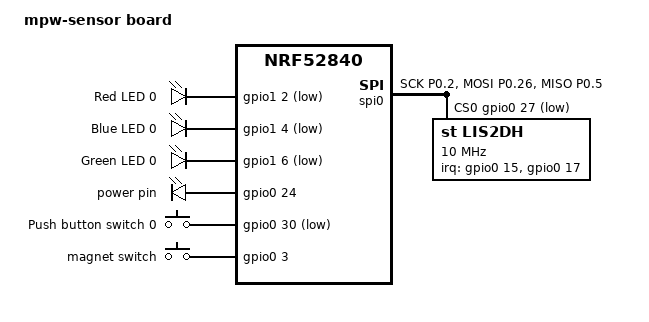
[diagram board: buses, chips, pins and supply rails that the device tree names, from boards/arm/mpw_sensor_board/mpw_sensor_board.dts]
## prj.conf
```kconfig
CONFIG_BT=y
CONFIG_BT_DEBUG_LOG=y
CONFIG_BT_DEVICE_NAME="A_1111"
CONFIG_BT_BROADCASTER=y

CONFIG_STDOUT_CONSOLE=y
CONFIG_PINCTRL=y
CONFIG_SPI=y
CONFIG_SENSOR=y
CONFIG_LIS2DH=y
CONFIG_CBPRINTF_FP_SUPPORT=y

CONFIG_NEWLIB_LIBC=y
CONFIG_NEWLIB_LIBC_FLOAT_PRINTF=y
CONFIG_CBPRINTF_FP_SUPPORT=y
```

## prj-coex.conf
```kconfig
CONFIG_BT_LL_SW_SPLIT=y
CONFIG_BT_CTLR_COEX_DRIVERS=y
CONFIG_BT_CTLR_COEX_TICKER=y
```

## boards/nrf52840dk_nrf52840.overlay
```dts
// To get started, press Ctrl+Space to bring up the completion menu and view the available nodes.

// You can also use the buttons in the sidebar to perform actions on nodes.
// Actions currently available include:

// * Enabling / disabling the node
// * Adding the bus to a bus
// * Removing the node
// * Connecting ADC channels

// For more help, browse the DeviceTree documentation at https://docs.zephyrproject.org/latest/guides/dts/index.html
// You can also visit the nRF DeviceTree extension documentation at https://nrfconnect.github.io/vscode-nrf-connect/devicetree/nrfdevicetree.html

&pinctrl {
	spi1_default: spi1_default {
		group1 {
			psels = <NRF_PSEL(SPIM_SCK, 0, 31)>,
				<NRF_PSEL(SPIM_MOSI, 0, 30)>,
				<NRF_PSEL(SPIM_MISO, 1, 8)>;
		};
	};
	spi1_sleep: spi1_sleep {
		group1 {
			psels = <NRF_PSEL(SPIM_SCK, 0, 31)>,
			<NRF_PSEL(SPIM_MOSI, 0, 30)>,
			<NRF_PSEL(SPIM_MISO, 1, 8)>;
		};
		
	};
};

// Adding our device to the devicetree
// lis2dh is a child node to the spi1 node
&spi1 {
	status = "okay";
	cs-gpios = <&gpio0 4 GPIO_ACTIVE_LOW>;
	pinctrl-0 = <&spi1_default>;
	pinctrl-1 = <&spi1_sleep>;
	pinctrl-names = "default", "sleep";
	my_spi_device: lis2dh@0 {
		compatible = "st,lis2dh";
		reg = <0>;
		spi-max-frequency = <10000000>;
		label = "lis2dh";
	};
};

// for power pin
/ {
	leds {
		/* pljfalkfjsa */
		led4: led_4 {
			gpios = < &gpio1 4 GPIO_ACTIVE_HIGH>;
		};
	};

	aliases {
		pwr = &led4;
	};
};
```

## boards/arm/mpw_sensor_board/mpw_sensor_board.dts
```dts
// Copyright (c) 2023 Nordic Semiconductor ASA
// SPDX-License-Identifier: Apache-2.0

/dts-v1/;
#include <nordic/nrf52840_qiaa.dtsi>

/ {
	model = "mpw-sensor board";
	compatible = "protopaja,mpw-sensor-board";

	chosen {
		zephyr,sram = &sram0;
		zephyr,flash = &flash0;
		zephyr,code-partition = &slot0_partition;
		zephyr,ieee802154 = &ieee802154;
	};

	leds {
		compatible = "gpio-leds";
		led0: led_0 {
			gpios = <&gpio1 2 GPIO_ACTIVE_LOW>;
			label = "Red LED 0";
		}; 
		led1: led_1 {
			gpios = <&gpio1 4 GPIO_ACTIVE_LOW>;
			label = "Blue LED 0";
		}; 
		led2: led_2 {
			gpios = <&gpio1 6 GPIO_ACTIVE_LOW>;
			label = "Green LED 0";
		};

		/* led3 is actually the power pin for the accelerometer */
		led3: led_3 {
			gpios = <&gpio0 24 GPIO_ACTIVE_HIGH>;
			label = "power pin";
		};
	};

	buttons {
		compatible = "gpio-keys";
		button0: button_0 {
			gpios = <&gpio0 30 (GPIO_PULL_UP | GPIO_ACTIVE_LOW)>;
			label = "Push button switch 0";
		};
		
		/* button1 is the reed switch */
		button1: button_1 {
			gpios = <&gpio0 3 (GPIO_PULL_UP | GPIO_ACTIVE_HIGH)>;
			label = "magnet switch";
		};
		
	};

	aliases {
		led0 = &led0;
		led1 = &led1;
		led2 = &led2;
		pwr = &led3;
		sw0 = &button0;
		sw1 = &button1;
		mcuboot-button0 = &button0;
		watchdog0 = &wdt0;
	};
};


/* ### PIN CONTROL CONFIGURATION ### */
 
&pinctrl {

	spi0_default: spi0_default {
		group1 {
			psels = <NRF_PSEL(SPIM_SCK, 0, 2)>,
				<NRF_PSEL(SPIM_MOSI, 0, 26)>,
				<NRF_PSEL(SPIM_MISO, 0, 5)>;
		};
	};

	spi0_sleep: spi0_sleep {
		group1 {
			psels = <NRF_PSEL(SPIM_SCK, 0, 2)>,
				<NRF_PSEL(SPIM_MOSI, 0, 26)>,
				<NRF_PSEL(SPIM_MISO, 0, 5)>;
			low-power-enable;
		};
	};
	
};

/* ### OTHER CONFIGURATION ### */

&gpiote {
	status = "okay";
};

&gpio0 {
	status = "okay";
};

&gpio1 {
	status = "okay";
};

&spi0 {
	compatible = "nordic,nrf-spi";
	status = "okay";
	pinctrl-0 = <&spi0_default>;
	pinctrl-1 = <&spi0_sleep>;
	pinctrl-names = "default", "sleep";
	cs-gpios = <&gpio0 27 GPIO_ACTIVE_LOW>;
    accelerometer: lis2dh@0 {
        compatible = "st,lis2dh";
        reg = <0>;
		irq-gpios = <&gpio0 15 GPIO_ACTIVE_HIGH>, <&gpio0 17 GPIO_ACTIVE_HIGH>;
        spi-max-frequency = <10000000>;
        label = "lis2dh";
	};
};

&flash0 {
	partitions {
		compatible = "fixed-partitions";
		#address-cells = <1>;
		#size-cells = <1>;

		boot_partition: partition@0 {
			label = "mcuboot";
			reg = <0x0 0xc000>;
		};
		slot0_partition: partition@c000 {
			label = "image-0";
			reg = <0xc000 0x72000>;
		};
		slot1_partition: partition@7e000 {
			label = "image-1";
			reg = <0x7e000 0x72000>;
		};
		scratch_partition: partition@f0000 {
			label = "image-scratch";
			reg = <0xf0000 0xa000>;
		};
		storage_partition: partition@fa000 {
			label = "storage";
			reg = <0xfa000 0x6000>;
		};
	};
};
```

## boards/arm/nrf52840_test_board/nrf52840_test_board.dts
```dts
// Copyright (c) 2023 Nordic Semiconductor ASA
// SPDX-License-Identifier: Apache-2.0

/dts-v1/;
#include <nordic/nrf52840_qiaa.dtsi>

/ {
	model = "nrf52840 test board";
	compatible = "mouser,nrf52840-test-board";

	chosen {
		zephyr,sram = &sram0;
		zephyr,flash = &flash0;
		zephyr,code-partition = &slot0_partition;
	};
};

&flash0 {
	partitions {
		compatible = "fixed-partitions";
		#address-cells = <1>;
		#size-cells = <1>;

		boot_partition: partition@0 {
			label = "mcuboot";
			reg = <0x0 0xc000>;
		};
		slot0_partition: partition@c000 {
			label = "image-0";
			reg = <0xc000 0x72000>;
		};
		slot1_partition: partition@7e000 {
			label = "image-1";
			reg = <0x7e000 0x72000>;
		};
		scratch_partition: partition@f0000 {
			label = "image-scratch";
			reg = <0xf0000 0xa000>;
		};
		storage_partition: partition@fa000 {
			label = "storage";
			reg = <0xfa000 0x6000>;
		};
	};
};
```

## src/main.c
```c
#include <stdio.h>
#include <zephyr/kernel.h>
#include <zephyr/device.h>
#include <zephyr/drivers/sensor.h>
#include <stdlib.h>
#include <math.h>
#include <zephyr/types.h>
#include <stddef.h>
#include <zephyr/sys/printk.h>
#include <zephyr/sys/util.h>
#include <zephyr/drivers/gpio.h>
#include <zephyr/bluetooth/bluetooth.h>
#include <zephyr/bluetooth/hci.h>
#include <inttypes.h>


/* Set up leds */
/* 1000 msec = 1 sec */
#define LED_SLEEP_MS 1000
#define LED0_NODE DT_ALIAS(led0)
#define LED1_NODE DT_ALIAS(led1)
#define LED2_NODE DT_ALIAS(led2)
static const struct gpio_dt_spec led_red = GPIO_DT_SPEC_GET(LED0_NODE, gpios);
static const struct gpio_dt_spec led_blue = GPIO_DT_SPEC_GET(LED1_NODE, gpios);
static const struct gpio_dt_spec led_green = GPIO_DT_SPEC_GET(LED2_NODE, gpios);
struct gpio_dt_spec leds[3] = {led_red, led_blue, led_green};
int led_index = 0;
int last_led_index = 0;

/* Set up button */
#define BUTTON_SLEEP_MS	1
#define SW0_NODE	DT_ALIAS(sw0)
static const struct gpio_dt_spec button = GPIO_DT_SPEC_GET_OR(SW0_NODE, gpios, {0});
static struct gpio_callback button_cb_data;

/* Set up mag switch */
#define SW1_NODE	DT_ALIAS(sw1)
static const struct gpio_dt_spec mag_switch = GPIO_DT_SPEC_GET(SW1_NODE, gpios);
static struct gpio_callback switch_cb_data;

/* Set up Bluetooth */
#define DEVICE_NAME CONFIG_BT_DEVICE_NAME /* Device name is located in prj.conf */
#define DEVICE_NAME_LEN (sizeof(DEVICE_NAME) - 1)

static uint8_t mfg_data[] = {"  Chair "};

/* Set ad data */
static const struct bt_data ad[] = {
	BT_DATA(BT_DATA_MANUFACTURER_DATA, mfg_data, 8),
};

/* Set scan response data */
static const struct bt_data sd[] = {
	BT_DATA(BT_DATA_NAME_COMPLETE, DEVICE_NAME, DEVICE_NAME_LEN),
};

typedef struct {
    int eventNumber;
    int timestamp;
    float x;
    float y;
    float z;
} SensorEvent;

int mode = 1;
int last_mode = 0;
bool door_open = true;
static SensorEvent previousEvent;
float threshold_x = 1;
float threshold_y = 1;
float threshold_z = 1;
int numEvents = 0;
bool isFirstEvent = true;
int check = 1;
int coffee_check = 0;
int twice = 0;

/* Function for gathering and processing sensor data */
static void fetch_and_display(const struct device *sensor)
{   
    /* Check if mode has changed */
    if (last_mode != mode) { 

        last_mode = mode;

        if (mode == 1) {
            /* Chair mode */
            strcpy(mfg_data, "  Chair ");
            threshold_x = 0.5;
            threshold_y = 0.5;
            threshold_z = 0.5;
        }
        else if (mode == 2) {
            /* Door mode */
            strcpy(mfg_data, "  Door  ");
            threshold_x = 5000;
            threshold_y = 5000;
            threshold_z = 5000;
        }
        else if (mode == 3) {
            /* Coffee mode */
             strcpy(mfg_data, "  Coffee");
            threshold_x = 10;
            threshold_y = 10;
            threshold_z = 0.2;
        }
    }
    /* Set up sensor*/
    struct sensor_value accel[3];
    const char *overrun = "";
    int rc = sensor_sample_fetch(sensor);

    if (rc == 0) {
        rc = sensor_channel_get(sensor,
                                SENSOR_CHAN_ACCEL_XYZ,
                                accel);
    }
    if (rc < 0) {
        printf("ERROR: Update failed: %d\n", rc);
    } else {
        SensorEvent currentEvent;
        currentEvent.eventNumber = numEvents + 1;
        currentEvent.timestamp = k_uptime_get_32();
        currentEvent.x = sensor_value_to_double(&accel[0]);
        currentEvent.y = sensor_value_to_double(&accel[1]);
        currentEvent.z = sensor_value_to_double(&accel[2]);
 
        if (isFirstEvent) {
            previousEvent = currentEvent;
            isFirstEvent = false;
        } else {
            /* Check if the current event is different from the previous event */
            
            if ((mode == 2 && door_open)                             ||
                fabs(currentEvent.x - previousEvent.x) > threshold_x ||
                fabs(currentEvent.y - previousEvent.y) > threshold_y ||
                fabs(currentEvent.z - previousEvent.z) > threshold_z) {
                numEvents++;
                previousEvent = currentEvent;
                printf("Event Number: %d\n", numEvents);
                printf("Timestamp: %d ms\n", currentEvent.timestamp);
                printf("x: %f\n", currentEvent.x);
                printf("y: %f\n", currentEvent.y);
                printf("z: %f\n", currentEvent.z);
                printf("\n");

                /* Specifications for coffee mode */
                if (mode == 3 && coffee_check < 11) {
                    coffee_check++;
                }
                /* Prevents two ads happening from one movement */
                else if (twice < 1) {
                    twice++;
                }
                else {
                
                twice = 0;
                coffee_check = 0;

                printk("Sending advertising data: %s\n", mfg_data);
                
                /* Send advertisement */
                int err;
                err = bt_le_adv_start(BT_LE_ADV_NCONN, ad, ARRAY_SIZE(ad), sd, ARRAY_SIZE(sd));
                if (err) {
                    printk("Advertising failed to start (err %d)\n", err);
                    return 0;
                    }

                k_msleep(3000);

                /* Stop advertisement*/
                err = bt_le_adv_stop();
                if (err) {
                    printk("Advertising failed to stop (err %d)\n", err);
                    return 0;
                    }
                else {
                    printk("Stopping advertising data: %s\n", mfg_data);
                }
                /*
                if (check % 2 == 0) {
                    k_msleep(10000);
                }
                check++;
                */
                }
                }
            }
        }
}

/* Leds init */
int led_init(void)
{
    for (int i = 0; i < 3; i++) {

        int ret;
        const struct gpio_dt_spec led = leds[i];
         
        if (!gpio_is_ready_dt(&led)) {
            return 0;
        }

        ret = gpio_pin_configure_dt(&led, GPIO_OUTPUT_ACTIVE);
        if (ret < 0) {
            return 0;
        }
        gpio_pin_set_dt(&led, 0);
        gpio_pin_set_dt(&led_red, 1);

    }
    return 0;
}

/* Function for when button is pressed */
void button_pressed(const struct device *dev, struct gpio_callback *cb, uint32_t pins)
{ 
    last_led_index = led_index;
    last_mode = mode;

    mode++;
    led_index++;

    if (led_index >= 3) {
        led_index = 0;
        mode = 1;
    }

    const struct gpio_dt_spec led = leds[led_index];
    const struct gpio_dt_spec last_led = leds[last_led_index];

    gpio_pin_set_dt(&last_led, 0);
	gpio_pin_set_dt(&led, 1);

    k_msleep(BUTTON_SLEEP_MS);
}

/* Button init */
int button_init(void) 
{

    int ret;

	if (!gpio_is_ready_dt(&button)) {
		printk("Error: button device %s is not ready\n",
		       button.port->name);
		return 0;
	}

	ret = gpio_pin_configure_dt(&button, GPIO_INPUT);
	if (ret != 0) {
		printk("Error %d: failed to configure %s pin %d\n",
		       ret, button.port->name, button.pin);
		return 0;
	}

	ret = gpio_pin_interrupt_configure_dt(&button, GPIO_INT_EDGE_TO_ACTIVE);

	if (ret != 0) {
		printk("Error %d: failed to configure interrupt on %s pin %d\n",
			ret, button.port->name, button.pin);
		return 0;
	}

	gpio_init_callback(&button_cb_data, button_pressed, BIT(button.pin));
	gpio_add_callback(button.port, &button_cb_data);
	printk("Set up button at %s pin %d\n", button.port->name, button.pin);

	return 0;
}

/* Magnet detection */
void magnet_close(const struct device *dev, struct gpio_callback *cb, uint32_t pins)
{
    int val = gpio_pin_get_raw(mag_switch.port, mag_switch.pin);

    if (val == 0) {
        door_open = false;
    } 
    else if (val == 1) {
        door_open = true;
    }

}
/* Magnet inti */
int magnet_init(void)
{
    int ret;

    if (!gpio_is_ready_dt(&mag_switch)) {
        return 0;
    }

    /* Configure the GPIO pin as an input */
    ret = gpio_pin_configure_dt(&mag_switch, GPIO_INPUT);
    if (ret != 0) {
        return 0;
    }

    ret = gpio_pin_interrupt_configure_dt(&mag_switch, GPIO_INT_EDGE_BOTH);

	if (ret != 0) {
		printk("Error %d: failed to configure interrupt on %s pin %d\n",
			ret, mag_switch.port->name, mag_switch.pin);
		return 0;
    }

    gpio_init_callback(&switch_cb_data, magnet_close, BIT(mag_switch.pin));
	gpio_add_callback(mag_switch.port, &switch_cb_data);
}


/* Main */

int main(void)
{   

    led_init();

    button_init();

    magnet_init();

    const struct device *const sensor = DEVICE_DT_GET_ANY(st_lis2dh);

    if (sensor == NULL) {
        printf("No device found\n");
        return 0;
    }
    if (!device_is_ready(sensor)) {
        printf("Device %s is not ready\n", sensor->name);
        return 0;
    }

    /* Initialize Bluetooth */
    int err;
    printk("Starting Broadcaster\n");
    err = bt_enable(NULL);
    if (err) {
        printk("Bluetooth init failed (err %d)\n", err);
        return 0;
        }
    printk("Bluetooth initialized\n");
    
    printf("Polling at 0.5 Hz\n");
    while (true) {
        fetch_and_display(sensor);
        k_sleep(K_MSEC(1000));
        }
    }
```

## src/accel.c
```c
/*
 * Copyright (c) 2019 Nordic Semiconductor ASA
 *
 * SPDX-License-Identifier: Apache-2.0
 */


#include <stdio.h>
#include <zephyr/kernel.h>
#include <zephyr/device.h>
#include <zephyr/drivers/sensor.h>
#include <stdlib.h>

typedef struct {
    int eventNumber;
    int timestamp;
    float x;
    float y;
    float z;
} SensorEvent;

static SensorEvent previousEvent;
float threshold = 0.1;
int numEvents = 0;
bool isFirstEvent = true;

static void fetch_and_display(const struct device *sensor)
{
    struct sensor_value accel[3];
    const char *overrun = "";
    int rc = sensor_sample_fetch(sensor);

    if (rc == -EBADMSG) {
        /* Sample overrun.  Ignore in polled mode. */
        if (IS_ENABLED(CONFIG_LIS2DH_TRIGGER)) {
            overrun = "[OVERRUN] ";
        }
        rc = 0;
    }
    if (rc == 0) {
        rc = sensor_channel_get(sensor,
                                SENSOR_CHAN_ACCEL_XYZ,
                                accel);
    }
    if (rc < 0) {
        printf("ERROR: Update failed: %d\n", rc);
    } else {
        SensorEvent currentEvent;
        currentEvent.eventNumber = numEvents + 1;
        currentEvent.timestamp = k_uptime_get_32();
        currentEvent.x = sensor_value_to_double(&accel[0]);
        currentEvent.y = sensor_value_to_double(&accel[1]);
        currentEvent.z = sensor_value_to_double(&accel[2]);

        if (isFirstEvent) {
            previousEvent = currentEvent;
            isFirstEvent = false;
        } else {
            // Check if the current event is different from the previous event
            if (abs(currentEvent.x - previousEvent.x) > threshold ||
                abs(currentEvent.y - previousEvent.y) > threshold ||
                abs(currentEvent.z - previousEvent.z) > threshold) {
                numEvents++;
                previousEvent = currentEvent;
                printf("Event Number: %d\n", numEvents);
                printf("Timestamp: %d ms\n", currentEvent.timestamp);
                printf("x: %f\n", currentEvent.x);
                printf("y: %f\n", currentEvent.y);
                printf("z: %f\n", currentEvent.z);
                printf("\n");
            }
        }
    }
}

#ifdef CONFIG_LIS2DH_TRIGGER
static void trigger_handler(const struct device *dev,
                            const struct sensor_trigger *trig)
{
    fetch_and_display(dev);
}
#endif

int main(void)
{
    const struct device *const sensor = DEVICE_DT_GET_ANY(st_lis2dh);

    if (sensor == NULL) {
        printf("No device found\n");
        return 0;
    }
    if (!device_is_ready(sensor)) {
        printf("Device %s is not ready\n", sensor->name);
        return 0;
    }

#if CONFIG_LIS2DH_TRIGGER
    {
        struct sensor_trigger trig;
        int rc;

        trig.type = SENSOR_TRIG_DATA_READY;
        trig.chan = SENSOR_CHAN_ACCEL_XYZ;

        if (IS_ENABLED(CONFIG_LIS2DH_ODR_RUNTIME)) {
            struct sensor_value odr = {
                .val1 = 1,
            };

            rc = sensor_attr_set(sensor, trig.chan,
                                 SENSOR_ATTR_SAMPLING_FREQUENCY,
                                 &odr);
            if (rc != 0) {
                printf("Failed to set odr: %d\n", rc);
                return 0;
            }
            printf("Sampling at %u Hz\n", odr.val1);
        }

        rc = sensor_trigger_set(sensor, &trig, trigger_handler);
        if (rc != 0) {
            printf("Failed to set trigger: %d\n", rc);
            return 0;
        }

        printf("Waiting for triggers\n");
        while (true) {
            k_sleep(K_MSEC(2000));
        }
    }
#else /* CONFIG_LIS2DH_TRIGGER */
    printf("Polling at 0.5 Hz\n");
    while (true) {
        fetch_and_display(sensor);
        k_sleep(K_MSEC(2000));
    }
#endif /* CONFIG_LIS2DH_TRIGGER */
}
```

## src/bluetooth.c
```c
#include <stdio.h>
#include <zephyr/kernel.h>
#include <zephyr/device.h>
#include <zephyr/drivers/sensor.h>
#include <stdlib.h>
#include <math.h>
#include <zephyr/types.h>
#include <stddef.h>
#include <zephyr/sys/printk.h>
#include <zephyr/sys/util.h>
#include <zephyr/bluetooth/bluetooth.h>
#include <zephyr/bluetooth/hci.h>

#define DEVICE_NAME CONFIG_BT_DEVICE_NAME
#define DEVICE_NAME_LEN (sizeof(DEVICE_NAME) - 1)


static uint8_t mfg_data[] = {54 61 62 6C 65};


static const struct bt_data ad[] = {
	BT_DATA(BT_DATA_MANUFACTURER_DATA, mfg_data, 7),
};

/* Set Scan Response data */
static const struct bt_data sd[] = {
	BT_DATA(BT_DATA_NAME_COMPLETE, DEVICE_NAME, DEVICE_NAME_LEN),
};

typedef struct {
    int eventNumber;
    int timestamp;
    float x;
    float y;
    float z;
} SensorEvent;

static SensorEvent previousEvent;
float threshold_x = 1;
float threshold_y = 1;
float threshold_z = 1;
int numEvents = 0;
bool isFirstEvent = true;

static void fetch_and_display(const struct device *sensor)
{
    struct sensor_value accel[3];
    const char *overrun = "";
    int rc = sensor_sample_fetch(sensor);

    if (rc == -EBADMSG) {
        /* Sample overrun.  Ignore in polled mode. */
        if (IS_ENABLED(CONFIG_LIS2DH_TRIGGER)) {
            overrun = "[OVERRUN] ";
        }
        rc = 0;
    }
    if (rc == 0) {
        rc = sensor_channel_get(sensor,
                                SENSOR_CHAN_ACCEL_XYZ,
                                accel);
    }
    if (rc < 0) {
        printf("ERROR: Update failed: %d\n", rc);
    } else {
        SensorEvent currentEvent;
        currentEvent.eventNumber = numEvents + 1;
        currentEvent.timestamp = k_uptime_get_32();
        currentEvent.x = sensor_value_to_double(&accel[0]);
        currentEvent.y = sensor_value_to_double(&accel[1]);
        currentEvent.z = sensor_value_to_double(&accel[2]);
 
        if (isFirstEvent) {
            previousEvent = currentEvent;
            isFirstEvent = false;
        } else {
            // Check if the current event is different from the previous event
            if (fabs(currentEvent.x - previousEvent.x) > threshold_x ||
                fabs(currentEvent.y - previousEvent.y) > threshold_y ||
                fabs(currentEvent.z - previousEvent.z) > threshold_z) {
                numEvents++;
                previousEvent = currentEvent;
                printf("Event Number: %d\n", numEvents);
                printf("Timestamp: %d ms\n", currentEvent.timestamp);
                printf("x: %f\n", currentEvent.x);
                printf("y: %f\n", currentEvent.y);
                printf("z: %f\n", currentEvent.z);
                printf("\n");
                
                printk("Sending advertising data: %02X\n", mfg_data[9]);
                
                int err;
                err = bt_le_adv_start(BT_LE_ADV_NCONN, ad, ARRAY_SIZE(ad), sd, ARRAY_SIZE(sd));
                if (err) {
                    printk("Advertising failed to start (err %d)\n", err);
                    return 0;
                    }

                k_msleep(5000);

                err = bt_le_adv_stop();
                if (err) {
                    printk("Advertising failed to stop (err %d)\n", err);
                    return 0;
                    }
                else {
                    printk("Stopping advertising data: %02X\n", mfg_data[9]);
                }
                mfg_data[3] = "e";
                }
            }
        }
    }

#ifdef CONFIG_LIS2DH_TRIGGER
static void trigger_handler(const struct device *dev,
                            const struct sensor_trigger *trig)
{
    fetch_and_display(dev);
}
#endif

int main(void)
{
    const struct device *const sensor = DEVICE_DT_GET_ANY(st_lis2dh);

    if (sensor == NULL) {
        printf("No device found\n");
        return 0;
    }
    if (!device_is_ready(sensor)) {
        printf("Device %s is not ready\n", sensor->name);
        return 0;
    }

    // Initialize Bluetooth
    int err;
    printk("Starting Broadcaster\n");
    err = bt_enable(NULL);
    if (err) {
        printk("Bluetooth init failed (err %d)\n", err);
        return 0;
        }
    printk("Bluetooth initialized\n");


    //k_msleep(1000);

#if CONFIG_LIS2DH_TRIGGER
    {
        struct sensor_trigger trig;
        int rc;

        trig.type = SENSOR_TRIG_DATA_READY;
        trig.chan = SENSOR_CHAN_ACCEL_XYZ;

        if (IS_ENABLED(CONFIG_LIS2DH_ODR_RUNTIME)) {
            struct sensor_value odr = {
                .val1 = 1,
            };

            rc = sensor_attr_set(sensor, trig.chan,
                                SENSOR_ATTR_SAMPLING_FREQUENCY,
                                &odr);
            if (rc != 0) {
                printf("Failed to set odr: %d\n", rc);
                return 0;
            }
            printf("Sampling at %u Hz\n", odr.val1);
        }

        rc = sensor_trigger_set(sensor, &trig, trigger_handler);
        if (rc != 0) {
            printf("Failed to set trigger: %d\n", rc);
            return 0;
        }

        printf("Waiting for triggers\n");
        while (true) {
            k_sleep(K_MSEC(2000));
        }
    }
    
#else //CONFIG_LIS2DH_TRIGGER
    printf("Polling at 0.5 Hz\n");
    while (true) {
        fetch_and_display(sensor);
        k_sleep(K_MSEC(1000));
    }

#endif /* CONFIG_LIS2DH_TRIGGER */
}
```

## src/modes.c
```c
#include <stdio.h>
#include <zephyr/kernel.h>
#include <zephyr/device.h>
#include <zephyr/drivers/sensor.h>
#include <stdlib.h>
#include <math.h>
#include <zephyr/types.h>
#include <stddef.h>
#include <zephyr/sys/printk.h>
#include <zephyr/sys/util.h>
#include <zephyr/bluetooth/bluetooth.h>
#include <zephyr/bluetooth/hci.h>
#include "modes.h"

int add(int a, int b) {
 
#define DEVICE_NAME CONFIG_BT_DEVICE_NAME
#define DEVICE_NAME_LEN (sizeof(DEVICE_NAME) - 1)


static uint8_t mfg_data[] = "  Table";


static const struct bt_data ad[] = {
	BT_DATA(BT_DATA_MANUFACTURER_DATA, mfg_data, 7),
};

/* Set Scan Response data */
static const struct bt_data sd[] = {
	BT_DATA(BT_DATA_NAME_COMPLETE, DEVICE_NAME, DEVICE_NAME_LEN),
};

typedef struct {
    int eventNumber;
    int timestamp;
    float x;
    float y;
    float z;
} SensorEvent;

static SensorEvent previousEvent;
float threshold_x = 1;
float threshold_y = 1;
float threshold_z = 1;
int numEvents = 0;
bool isFirstEvent = true;

static void fetch_and_display(const struct device *sensor)
{
    struct sensor_value accel[3];
    const char *overrun = "";
    int rc = sensor_sample_fetch(sensor);

    if (rc == -EBADMSG) {
        /* Sample overrun.  Ignore in polled mode. */
        if (IS_ENABLED(CONFIG_LIS2DH_TRIGGER)) {
            overrun = "[OVERRUN] ";
        }
        rc = 0;
    }
    if (rc == 0) {
        rc = sensor_channel_get(sensor,
                                SENSOR_CHAN_ACCEL_XYZ,
                                accel);
    }
    if (rc < 0) {
        printf("ERROR: Update failed: %d\n", rc);
    } else {
        SensorEvent currentEvent;
        currentEvent.eventNumber = numEvents + 1;
        currentEvent.timestamp = k_uptime_get_32();
        currentEvent.x = sensor_value_to_double(&accel[0]);
        currentEvent.y = sensor_value_to_double(&accel[1]);
        currentEvent.z = sensor_value_to_double(&accel[2]);
 
        if (isFirstEvent) {
            previousEvent = currentEvent;
            isFirstEvent = false;
        } else {
            // Check if the current event is different from the previous event
            if (fabs(currentEvent.x - previousEvent.x) > threshold_x ||
                fabs(currentEvent.y - previousEvent.y) > threshold_y ||
                fabs(currentEvent.z - previousEvent.z) > threshold_z) {
                numEvents++;
                previousEvent = currentEvent;
                printf("Event Number: %d\n", numEvents);
                printf("Timestamp: %d ms\n", currentEvent.timestamp);
                printf("x: %f\n", currentEvent.x);
                printf("y: %f\n", currentEvent.y);
                printf("z: %f\n", currentEvent.z);
                printf("\n");
                
                printk("Sending advertising data: %02X\n", mfg_data[9]);
                
                int err;
                err = bt_le_adv_start(BT_LE_ADV_NCONN, ad, ARRAY_SIZE(ad), sd, ARRAY_SIZE(sd));
                if (err) {
                    printk("Advertising failed to start (err %d)\n", err);
                    return 0;
                    }

                k_msleep(5000);

                err = bt_le_adv_stop();
                if (err) {
                    printk("Advertising failed to stop (err %d)\n", err);
                    return 0;
                    }
                else {
                    printk("Stopping advertising data: %02X\n", mfg_data[9]);
                }
                //mfg_data[9]++;
                }
            }
        }
    }

#ifdef CONFIG_LIS2DH_TRIGGER
static void trigger_handler(const struct device *dev,
                            const struct sensor_trigger *trig)
{
    fetch_and_display(dev);
}
#endif

    const struct device *const sensor = DEVICE_DT_GET_ANY(st_lis2dh);

    if (sensor == NULL) {
        printf("No device found\n");
        return 0;
    }
    if (!device_is_ready(sensor)) {
        printf("Device %s is not ready\n", sensor->name);
        return 0;
    }

    // Initialize Bluetooth
    int err;
    printk("Starting Broadcaster\n");
    err = bt_enable(NULL);
    if (err) {
        printk("Bluetooth init failed (err %d)\n", err);
        return 0;
        }
    printk("Bluetooth initialized\n");


    //k_msleep(1000);

#if CONFIG_LIS2DH_TRIGGER
    {
        struct sensor_trigger trig;
        int rc;

        trig.type = SENSOR_TRIG_DATA_READY;
        trig.chan = SENSOR_CHAN_ACCEL_XYZ;

        if (IS_ENABLED(CONFIG_LIS2DH_ODR_RUNTIME)) {
            struct sensor_value odr = {
                .val1 = 1,
            };

            rc = sensor_attr_set(sensor, trig.chan,
                                SENSOR_ATTR_SAMPLING_FREQUENCY,
                                &odr);
            if (rc != 0) {
                printf("Failed to set odr: %d\n", rc);
                return 0;
            }
            printf("Sampling at %u Hz\n", odr.val1);
        }

        rc = sensor_trigger_set(sensor, &trig, trigger_handler);
        if (rc != 0) {
            printf("Failed to set trigger: %d\n", rc);
            return 0;
        }

        printf("Waiting for triggers\n");
        while (true) {
            k_sleep(K_MSEC(2000));
        }
    }
    
#else //CONFIG_LIS2DH_TRIGGER
    printf("Polling at 0.5 Hz\n");
    while (true) {
        fetch_and_display(sensor);
        k_sleep(K_MSEC(1000));
    }

#endif /* CONFIG_LIS2DH_TRIGGER */
   return a + b;
}
```

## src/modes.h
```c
#ifndef MODES_H
#define MODES_H

int add(int a, int b);

#endif
```
